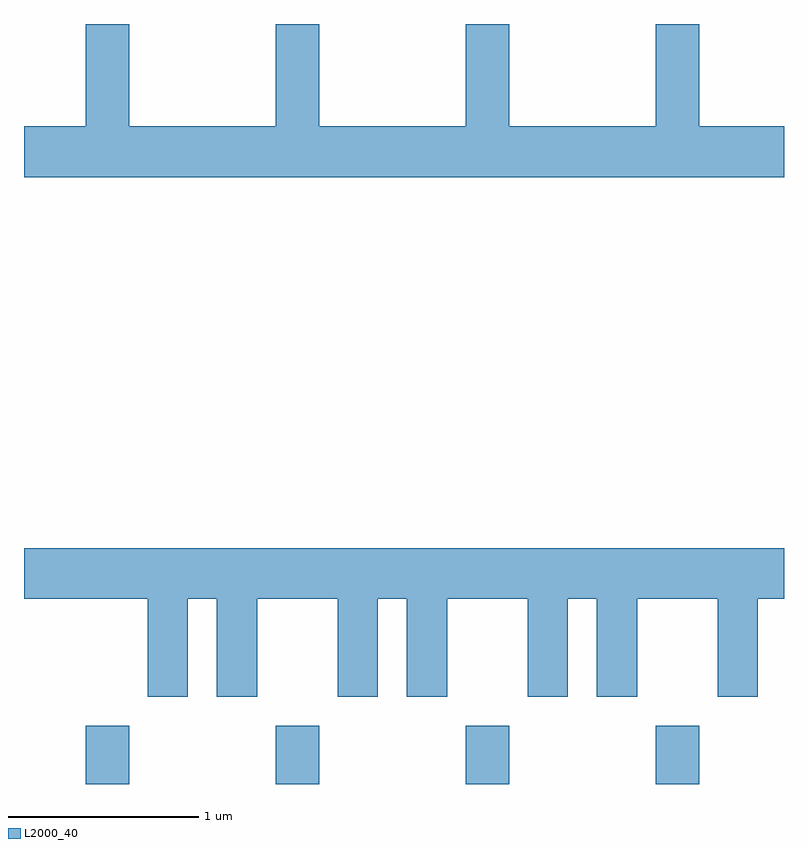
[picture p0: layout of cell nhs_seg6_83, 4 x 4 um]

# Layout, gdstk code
import gdstk
lib = gdstk.Library(unit=1e-6, precision=1e-09)
def R(c, l, rs):  # rectangles x0, y0, x1, y1
    for r in rs: c.add(gdstk.rectangle(r[:2], r[2:], *l))
def A(c, l, x, y, w, h, nx, ny, dx, dy):  # array of equal rectangles
    R(c, l, [(x+i*dx, y+j*dy, x+i*dx+w, y+j*dy+h) for i in range(nx) for j in range(ny)])
def P(c, l, *ps):  # polygons
    for p in ps: c.add(gdstk.Polygon(p, *l))
L2000_40 = (2000, 40)

nhs_seg6_83 = lib.new_cell('nhs_seg6_83')
A(nhs_seg6_83, L2000_40, 187.936, 1560.162, 0.228, 0.307, 4, 1, 1, 0)
P(nhs_seg6_83, L2000_40, [(191.611,1563.624),(191.164,1563.624),(191.164,1564.162),(190.936,1564.162),(190.936,1563.624),(190.164,1563.624),(190.164,1564.162),(189.936,1564.162),(189.936,1563.624),(189.164,1563.624),(189.164,1564.162),(188.936,1564.162),(188.936,1563.624),(188.164,1563.624),(188.164,1564.162),(187.936,1564.162),(187.936,1563.624),(187.611,1563.624),(187.611,1563.356),(191.611,1563.356)],
  [(188.474,1561.136),(188.626,1561.136),(188.626,1560.621),(188.839,1560.621),(188.839,1561.136),(189.261,1561.136),(189.261,1560.621),(189.474,1560.621),(189.474,1561.136),(189.626,1561.136),(189.626,1560.621),(189.839,1560.621),(189.839,1561.136),(190.261,1561.136),(190.261,1560.621),(190.474,1560.621),(190.474,1561.136),(190.626,1561.136),(190.626,1560.621),(190.839,1560.621),(190.839,1561.136),(191.261,1561.136),(191.261,1560.621),(191.474,1560.621),(191.474,1561.136),(191.611,1561.136),(191.611,1561.404),(187.611,1561.404),(187.611,1561.136),(188.261,1561.136),(188.261,1560.621),(188.474,1560.621)])

lib.write_gds('nhs_seg6_83.gds')
